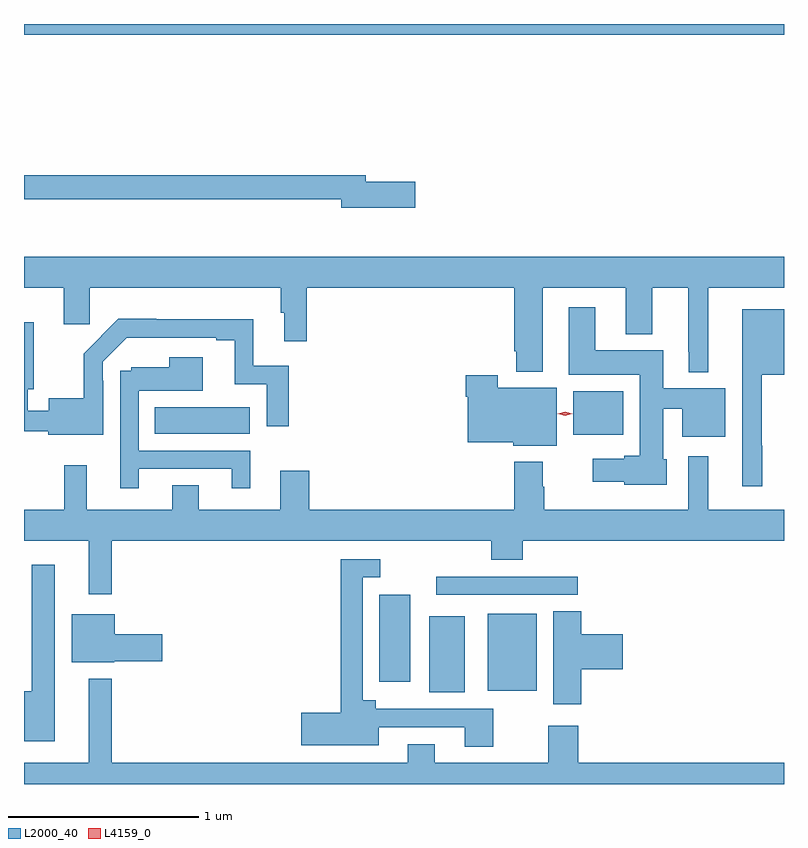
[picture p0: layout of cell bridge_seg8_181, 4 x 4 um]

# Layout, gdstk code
import gdstk
lib = gdstk.Library(unit=1e-6, precision=1e-09)
def R(c, l, rs):  # rectangles x0, y0, x1, y1
    for r in rs: c.add(gdstk.rectangle(r[:2], r[2:], *l))
def P(c, l, *ps):  # polygons
    for p in ps: c.add(gdstk.Polygon(p, *l))
L2000_40 = (2000, 40)
L4159_0 = (4159, 0)

bridge_seg8_181 = lib.new_cell('bridge_seg8_181')
R(bridge_seg8_181, L2000_40, [(330.752,1093.061,330.94,1093.459), (331.061,1093.067,331.318,1093.474), (330.491,1093.116,330.652,1093.573), (330.789,1093.572,331.534,1093.668), (331.511,1094.414,331.774,1094.644), (329.308,1094.42,329.809,1094.56), (328.62,1096.52,332.62,1096.577)])
P(bridge_seg8_181, L2000_40, [(330.679,1095.746),(330.418,1095.746),(330.418,1095.782),(328.62,1095.782),(328.62,1095.654),(330.29,1095.654),(330.29,1095.611),(330.679,1095.611)],
  [(332.221,1095.188),(332.62,1095.188),(332.62,1095.352),(328.62,1095.352),(328.62,1095.188),(328.829,1095.188),(328.829,1094.997),(328.967,1094.997),(328.967,1095.188),(329.971,1095.188),(329.971,1095.056),(329.99,1095.056),(329.99,1094.907),(330.107,1094.907),(330.107,1095.188),(331.199,1095.188),(331.199,1094.854),(331.211,1094.854),(331.211,1094.747),(331.351,1094.747),(331.351,1095.188),(331.787,1095.188),(331.787,1094.945),(331.927,1094.945),(331.927,1095.188),(332.117,1095.188),(332.117,1094.851),(332.119,1094.851),(332.119,1094.744),(332.221,1094.744)],
  [(332.002,1094.286),(331.984,1094.286),(331.984,1094.551),(332.084,1094.551),(332.084,1094.405),(332.311,1094.405),(332.311,1094.659),(331.984,1094.659),(331.984,1094.86),(331.627,1094.86),(331.627,1095.085),(331.487,1095.085),(331.487,1094.732),(331.862,1094.732),(331.862,1094.305),(331.779,1094.305),(331.779,1094.29),(331.614,1094.29),(331.614,1094.168),(331.779,1094.168),(331.779,1094.153),(332.002,1094.153)],
  [(332.506,1094.357),(332.503,1094.357),(332.503,1094.732),(332.62,1094.732),(332.62,1095.076),(332.399,1095.076),(332.399,1094.145),(332.506,1094.145)],
  [(329.037,1094.699),(329.034,1094.699),(329.034,1094.799),(329.16,1094.925),(329.633,1094.925),(329.633,1094.913),(329.729,1094.913),(329.729,1094.682),(329.898,1094.682),(329.898,1094.46),(330.014,1094.46),(330.014,1094.778),(329.827,1094.778),(329.827,1095.022),(329.315,1095.022),(329.315,1095.025),(329.116,1095.025),(328.934,1094.842),(328.934,1094.608),(328.749,1094.608),(328.749,1094.541),(328.641,1094.541),(328.641,1094.654),(328.672,1094.654),(328.672,1095.007),(328.62,1095.007),(328.62,1094.433),(328.748,1094.433),(328.748,1094.414),(329.037,1094.414)],
  [(329.224,1094.235),(329.714,1094.235),(329.714,1094.133),(329.812,1094.133),(329.812,1094.331),(329.223,1094.331),(329.223,1094.648),(329.56,1094.648),(329.56,1094.824),(329.384,1094.824),(329.384,1094.77),(329.184,1094.77),(329.184,1094.751),(329.127,1094.751),(329.127,1094.133),(329.224,1094.133)],
  [(331.423,1094.662),(331.114,1094.662),(331.114,1094.728),(330.944,1094.728),(330.944,1094.615),(330.956,1094.615),(330.956,1094.375),(331.194,1094.375),(331.194,1094.357),(331.423,1094.357)],
  [(329.083,1093.856),(331.079,1093.856),(331.079,1093.757),(331.244,1093.757),(331.244,1093.856),(332.62,1093.856),(332.62,1094.02),(332.221,1094.02),(332.221,1094.302),(332.117,1094.302),(332.117,1094.02),(331.359,1094.02),(331.359,1094.141),(331.351,1094.141),(331.351,1094.272),(331.199,1094.272),(331.199,1094.02),(330.122,1094.02),(330.122,1094.227),(329.969,1094.227),(329.969,1094.02),(329.539,1094.02),(329.539,1094.15),(329.399,1094.15),(329.399,1094.02),(328.949,1094.02),(328.949,1094.254),(328.831,1094.254),(328.831,1094.02),(328.62,1094.02),(328.62,1093.856),(328.961,1093.856),(328.961,1093.575),(329.083,1093.575)],
  [(331.089,1092.972),(330.472,1092.972),(330.472,1093.018),(330.402,1093.018),(330.402,1093.665),(330.496,1093.665),(330.496,1093.761),(330.286,1093.761),(330.286,1092.953),(330.078,1092.953),(330.078,1092.782),(330.487,1092.782),(330.487,1092.876),(330.941,1092.876),(330.941,1092.774),(331.089,1092.774)],
  [(328.783,1093.732),(328.662,1093.732),(328.662,1093.066),(328.62,1093.066),(328.62,1092.803),(328.783,1092.803)],
  [(331.553,1093.181),(331.771,1093.181),(331.771,1093.364),(331.553,1093.364),(331.553,1093.487),(331.406,1093.487),(331.406,1092.996),(331.553,1092.996)],
  [(329.094,1093.223),(329.347,1093.223),(329.347,1093.365),(329.098,1093.365),(329.098,1093.471),(328.871,1093.471),(328.871,1093.217),(329.094,1093.217)],
  [(332.62,1092.688),(331.538,1092.688),(331.538,1092.883),(331.378,1092.883),(331.378,1092.688),(330.781,1092.688),(330.781,1092.787),(330.641,1092.787),(330.641,1092.688),(329.083,1092.688),(329.083,1093.132),(328.961,1093.132),(328.961,1092.688),(328.62,1092.688),(328.62,1092.577),(332.62,1092.577)])
P(bridge_seg8_181, L4159_0, [(331.468,1094.515),(331.429,1094.525),(331.429,1094.525),(331.429,1094.525),(331.468,1094.535),(331.506,1094.526),(331.506,1094.526),(331.506,1094.525)])

lib.write_gds('bridge_seg8_181.gds')
